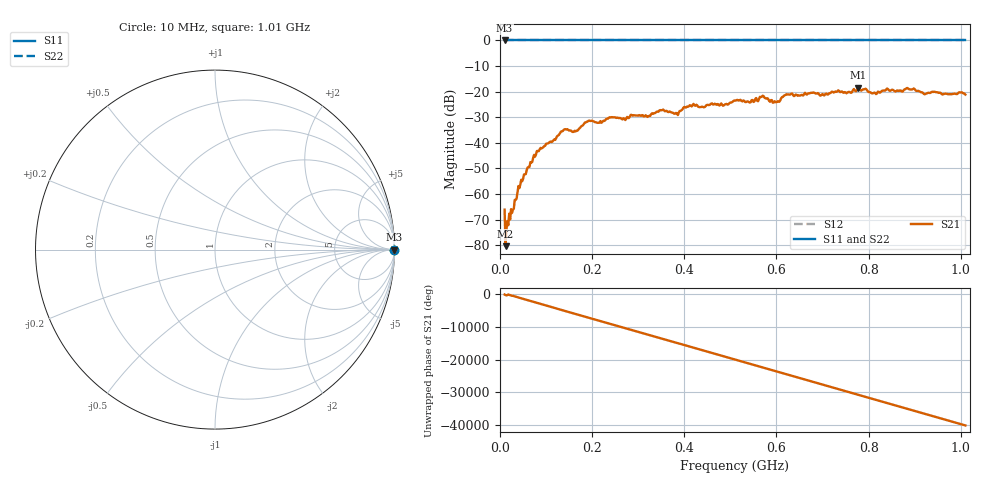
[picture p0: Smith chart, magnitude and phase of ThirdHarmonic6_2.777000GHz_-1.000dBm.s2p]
! 8/17/2025 7:06:08 AM
! C:\ANRITSUVNA\TEMP\TEMP.S2P
! CHANNEL.1
! TR.MEASUREMENT
! RAW.DATA
! RF.CORRECTION.OFF
! AVERAGING.OFF
! IF.BANDWIDTH: 5KHZ
! SWEEPTYPE:  FREQ.SWEEP(Linear)
! Reference Plane Port Info
! PORT:  PORT1  PORT2
! DISTANCE:  0  m  0  m
! TIME:  0  s  0  s
! PHASE.OFFSET:  0  deg.  0  deg.
! LOSS:  0  dB  0  dB
! REF.LOSS:  0  dB  0  dB
! REF.FREQ:  0  Hz  0  Hz
! Power Info
! POWER:  -20  dBm  -20  dBm
! EFF.POWER:  -20  dBm  -20  dBm
! SOURCE.ATTEN:  0  dB  0  dB
! TEST.ATTEN:  0  dB  0  dB
# GHZ S RI R 50.0
! FREQ.GHZ  S11RE  S11IM  S21RE  S21IM  S12RE  S12IM  S22RE  S22IM
!; PortSelection: Port_12
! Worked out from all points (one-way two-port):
!   501 points, 10 MHz to 1.01 GHz, reference 50 ohm
!   highest |S21| = -18.50 dB at 778 MHz (marker M1); lowest = -80.4 dB at 12 MHz (marker M2)
!   lowest |S11| = 0.0 dB at 10 MHz (marker M3)
!   |S11| at or under -10 dB: nowhere
!   |S22| runs from 0.0 to 0.0 dB; largest |S21 - S12| = 1.1
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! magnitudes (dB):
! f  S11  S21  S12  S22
! 10 MHz  0.0  -66.1  0.0  0.0
! 12 MHz  0.0  -80.4  0.0  0.0
! 16 MHz  0.0  -70.6  0.0  0.0
! 42 MHz  0.0  -57.7  0.0  0.0
! 84 MHz  0.0  -43.3  0.0  0.0
! 138 MHz  0.0  -35.0  0.0  0.0
! 162 MHz  0.0  -35.3  0.0  0.0
! 178 MHz  0.0  -33.3  0.0  0.0
! 194 MHz  0.0  -31.3  0.0  0.0
! 322 MHz  0.0  -29.6  0.0  0.0
! 344 MHz  0.0  -27.8  0.0  0.0
! 382 MHz  0.0  -28.3  0.0  0.0
! 416 MHz  0.0  -25.8  0.0  0.0
! 510 MHz  0.0  -23.5  0.0  0.0
! 568 MHz  0.0  -22.0  0.0  0.0
! 596 MHz  0.0  -23.7  0.0  0.0
! 622 MHz  0.0  -21.0  0.0  0.0
! 678 MHz  0.0  -20.4  0.0  0.0
! 778 MHz  0.0  -18.5  0.0  0.0
! 812 MHz  0.0  -20.4  0.0  0.0
! 844 MHz  0.0  -19.5  0.0  0.0
! 1.01 GHz  0.0  -21.1  0.0  0.0
